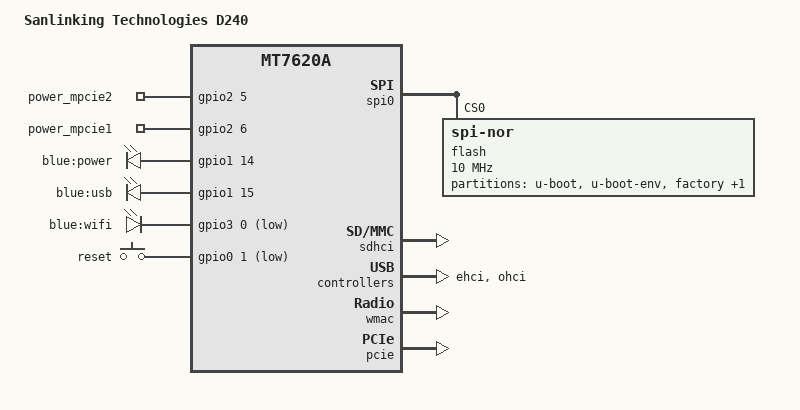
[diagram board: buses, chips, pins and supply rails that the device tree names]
// SPDX-License-Identifier: BSD-3-Clause
/*
 *  Copyright(c) 2017 Kristian Evensen <kristian.evensen@gmail.com>.
 *  All rights reserved.
 */

#include "mt7620a.dtsi"

#include <dt-bindings/gpio/gpio.h>
#include <dt-bindings/input/input.h>

/ {
	compatible = "sanlinking,d240", "ralink,mt7620a-soc";
	model = "Sanlinking Technologies D240";

	aliases {
		led-boot = &led_power;
		led-failsafe = &led_power;
		led-running = &led_power;
		led-upgrade = &led_power;
	};

	chosen {
		bootargs = "console=ttyS0,115200";
	};

	gpio-export {
		compatible = "gpio-export";
		#size-cells = <0>;

		power_mpcie2 {
			gpio-export,name = "power_mpcie2";
			gpio-export,output = <1>;
			gpios = <&gpio2 5 GPIO_ACTIVE_HIGH>;
		};

		power_mpcie1 {
			gpio-export,name = "power_mpcie1";
			gpio-export,output = <1>;
			gpios = <&gpio2 6 GPIO_ACTIVE_HIGH>;
		};
	};

	leds {
		compatible = "gpio-leds";

		led_power: power {
			label = "blue:power";
			gpios = <&gpio1 14 GPIO_ACTIVE_HIGH>;
		};

		usb {
			label = "blue:usb";
			gpios = <&gpio1 15 GPIO_ACTIVE_HIGH>;
			trigger-sources = <&ohci_port1>, <&ehci_port1>;
			linux,default-trigger = "usbport";
		};

		air {
			label = "blue:wifi";
			gpios = <&gpio3 0 GPIO_ACTIVE_LOW>;
		};
	};

	keys {
		compatible = "gpio-keys";

		reset {
			label = "reset";
			gpios = <&gpio0 1 GPIO_ACTIVE_LOW>;
			linux,code = <KEY_RESTART>;
		};
	};
};

&gpio1 {
	status = "okay";
};

&gpio2 {
	status = "okay";
};

&gpio3 {
	status = "okay";
};

&spi0 {
	status = "okay";

	flash@0 {
		compatible = "jedec,spi-nor";
		reg = <0>;
		spi-max-frequency = <10000000>;

		partitions {
			compatible = "fixed-partitions";
			#address-cells = <1>;
			#size-cells = <1>;

			partition@0 {
				label = "u-boot";
				reg = <0x0 0x30000>;
				read-only;
			};

			partition@30000 {
				label = "u-boot-env";
				reg = <0x30000 0x10000>;
				read-only;
			};

			factory: partition@40000 {
				label = "factory";
				reg = <0x40000 0x10000>;
				read-only;
			};

			partition@50000 {
				compatible = "denx,uimage";
				label = "firmware";
				reg = <0x50000 0xfb0000>;
			};
		};
	};
};

&sdhci {
	status = "okay";
	/* the pins function is already set during pinmux driver load */
	/delete-property/ pinctrl-0;
};

&ehci {
	status = "okay";
};

&ohci {
	status = "okay";
};

&ethernet {
	nvmem-cells = <&macaddr_factory_4>;
	nvmem-cell-names = "mac-address";

	mediatek,portmap = "llllw";
};

&wmac {
	ralink,mtd-eeprom = <&factory 0x0>;
};

&state_default {
	default {
		groups = "i2c", "uartf", "wled", "spi refclk", "pa";
		function = "gpio";
	};

	/*
	 * The sd function of the nd_sd group configures two of the
	 * groups pins as gpios. The pins are used as PCIe reset/power.
	 * Due to the driver load order, the pins are configured way to
	 * late if triggered by the sd-card driver.
	 * To not introduce another kind of driver load order
	 * dependency and configure the pins as early as possible,
	 * means during pinmux driver load.
	 */
	gpio_sd {
		groups = "nd_sd";
		function = "sd";
	};
};

&pcie {
	status = "okay";
};

&factory {
	compatible = "nvmem-cells";
	#address-cells = <1>;
	#size-cells = <1>;

	macaddr_factory_4: macaddr@4 {
		reg = <0x4 0x6>;
	};
};
